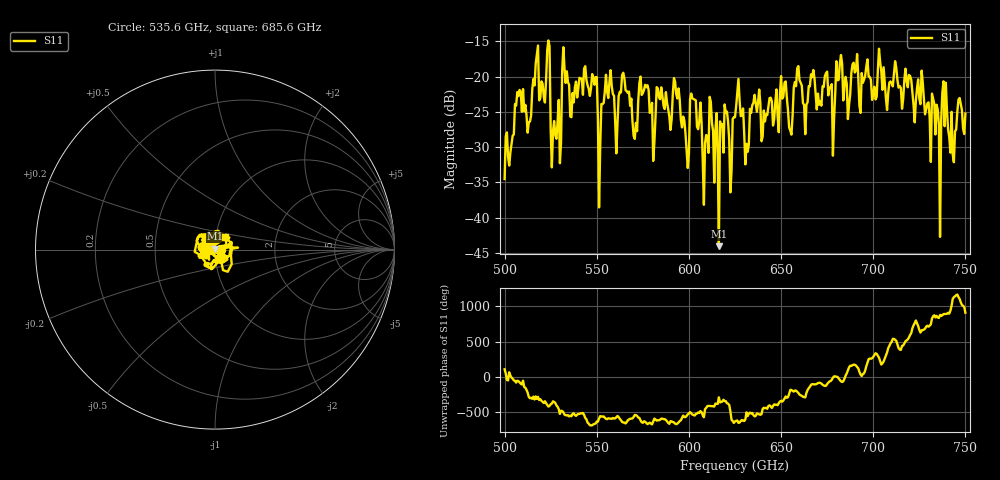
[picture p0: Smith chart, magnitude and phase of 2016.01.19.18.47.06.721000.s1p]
!Created with skrf (http://scikit-rf.org).
# GHz S RI R 50.0
!freq ReS11 ImS11
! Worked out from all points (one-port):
!   401 points, 500 GHz to 750 GHz, reference 50 ohm
!   lowest |S11| = -44.0 dB at 616.2 GHz (marker M1), VSWR 1.01, Z = 50.2 + j0.606 ohm
!   |S11| at or under -10 dB: start of sweep to end of sweep
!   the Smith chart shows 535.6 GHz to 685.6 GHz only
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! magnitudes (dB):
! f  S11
! 500 GHz  -34.5
! 507.5 GHz  -22.8
! 513.1 GHz  -26.5
! 516.9 GHz  -18.2
! 523.1 GHz  -16.3
! 526.9 GHz  -26.3
! 531.2 GHz  -19.1
! 548.8 GHz  -21.1
! 551.9 GHz  -29.9
! 556.2 GHz  -23.0
! 562.5 GHz  -22.1
! 570.6 GHz  -28.8
! 574.4 GHz  -22.6
! 580.6 GHz  -32.0
! 593.8 GHz  -23.1
! 598.8 GHz  -30.5
! 601.9 GHz  -23.1
! 616.2 GHz  -44.0
! 625 GHz  -25.8
! 631.2 GHz  -29.5
! 636.9 GHz  -25.0
! 656.2 GHz  -25.5
! 687.5 GHz  -22.5
! 718.8 GHz  -21.5
! 735 GHz  -24.7
! 738.8 GHz  -27.0
! 742.5 GHz  -25.0
! 750 GHz  -25.2
